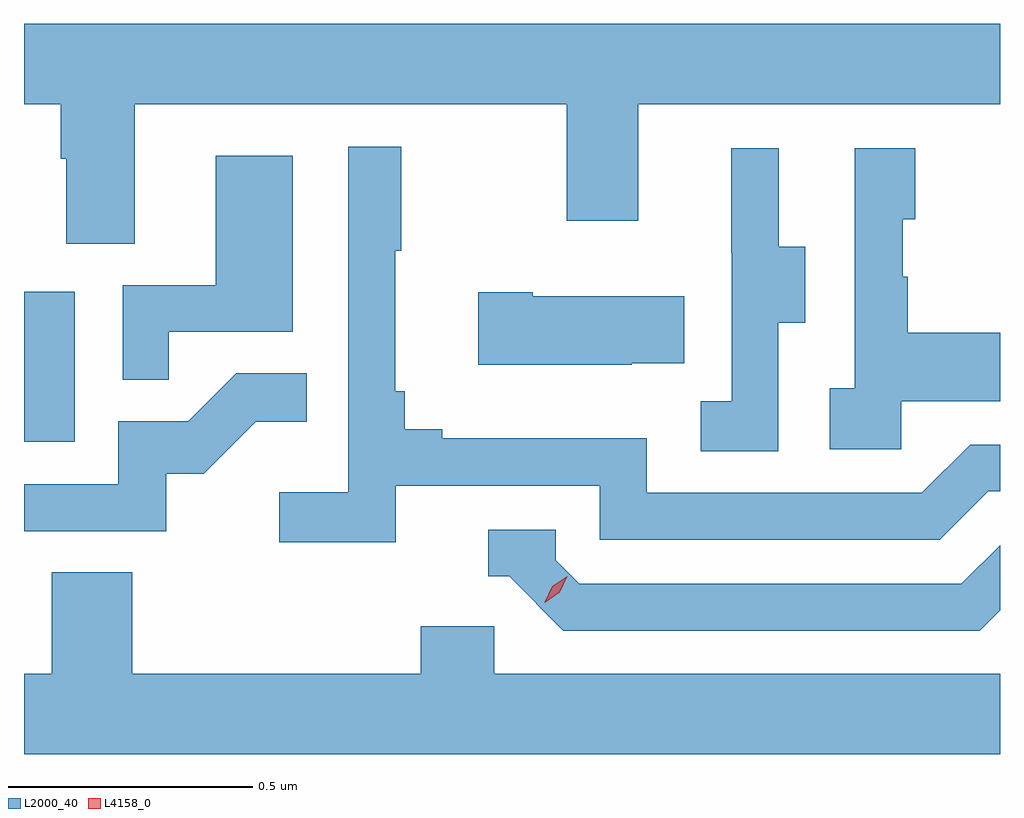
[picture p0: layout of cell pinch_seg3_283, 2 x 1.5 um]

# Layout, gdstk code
import gdstk
lib = gdstk.Library(unit=1e-6, precision=1e-09)
def R(c, l, rs):  # rectangles x0, y0, x1, y1
    for r in rs: c.add(gdstk.rectangle(r[:2], r[2:], *l))
def P(c, l, *ps):  # polygons
    for p in ps: c.add(gdstk.Polygon(p, *l))
L2000_40 = (2000, 40)
L4158_0 = (4158, 0)

pinch_seg3_283 = lib.new_cell('pinch_seg3_283')
R(pinch_seg3_283, L2000_40, [(938.162,714.876,938.266,715.183)])
P(pinch_seg3_283, L2000_40, [(938.389,715.568),(939.274,715.568),(939.274,715.329),(939.421,715.329),(939.421,715.568),(940.162,715.568),(940.162,715.732),(938.162,715.732),(938.162,715.568),(938.237,715.568),(938.237,715.456),(938.249,715.456),(938.249,715.282),(938.389,715.282)],
  [(938.924,714.786),(939.342,714.786),(939.342,714.675),(940.039,714.675),(940.138,714.774),(940.162,714.774),(940.162,714.87),(940.101,714.87),(940.002,714.771),(939.438,714.771),(939.438,714.883),(939.019,714.883),(939.019,714.902),(938.942,714.902),(938.942,714.979),(938.923,714.979),(938.923,715.267),(938.935,715.267),(938.935,715.48),(938.826,715.48),(938.826,714.772),(938.685,714.772),(938.685,714.67),(938.924,714.67)],
  [(939.96,714.959),(940.162,714.959),(940.162,715.099),(939.973,715.099),(939.973,715.214),(939.963,715.214),(939.963,715.332),(939.988,715.332),(939.988,715.477),(939.864,715.477),(939.864,714.986),(939.813,714.986),(939.813,714.861),(939.96,714.861)],
  [(939.708,715.12),(939.763,715.12),(939.763,715.275),(939.709,715.275),(939.709,715.477),(939.611,715.477),(939.611,715.263),(939.612,715.263),(939.612,714.959),(939.549,714.959),(939.549,714.856),(939.708,714.856)],
  [(938.459,715.101),(938.713,715.101),(938.713,715.462),(938.555,715.462),(938.555,715.197),(938.364,715.197),(938.364,715.003),(938.459,715.003)],
  [(939.407,715.037),(939.515,715.037),(939.515,715.174),(939.205,715.174),(939.205,715.182),(939.093,715.182),(939.093,715.034),(939.407,715.034)],
  [(938.454,714.81),(938.53,714.81),(938.637,714.917),(938.741,714.917),(938.741,715.016),(938.597,715.016),(938.499,714.918),(938.355,714.918),(938.355,714.789),(938.162,714.789),(938.162,714.693),(938.454,714.693)],
  [(940.162,714.531),(940.162,714.664),(940.083,714.585),(939.3,714.585),(939.252,714.633),(939.252,714.696),(939.113,714.696),(939.113,714.6),(939.156,714.6),(939.267,714.489),(940.12,714.489)],
  [(940.162,714.4),(939.126,714.4),(939.126,714.498),(938.975,714.498),(938.975,714.4),(938.384,714.4),(938.384,714.608),(938.219,714.608),(938.219,714.4),(938.162,714.4),(938.162,714.236),(940.162,714.236)])
P(pinch_seg3_283, L4158_0, [(939.229,714.546),(939.229,714.547),(939.244,714.58),(939.275,714.6),(939.275,714.6),(939.275,714.6),(939.26,714.567),(939.229,714.546)])

lib.write_gds('pinch_seg3_283.gds')
